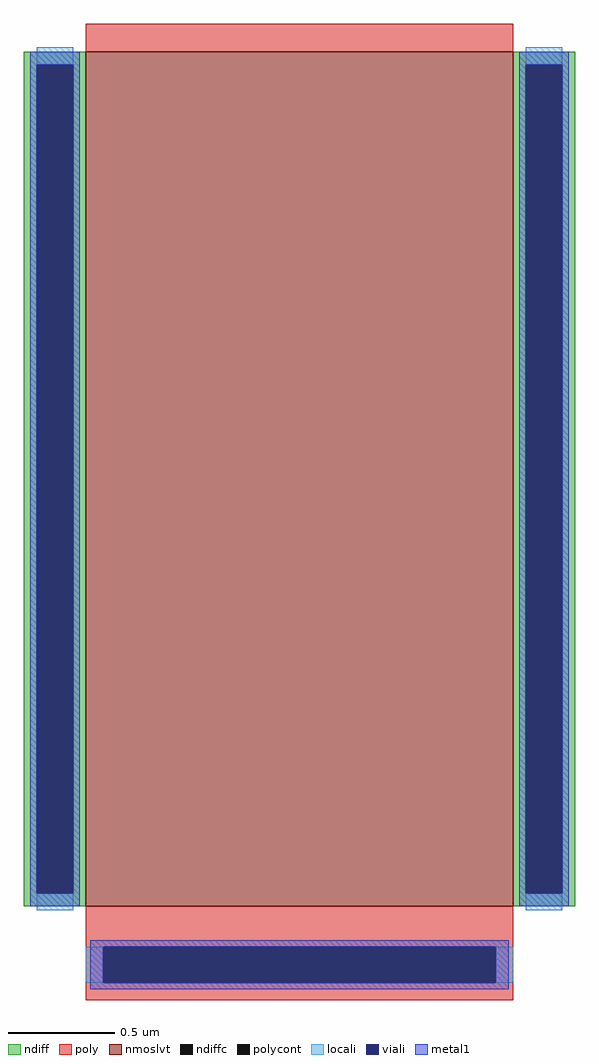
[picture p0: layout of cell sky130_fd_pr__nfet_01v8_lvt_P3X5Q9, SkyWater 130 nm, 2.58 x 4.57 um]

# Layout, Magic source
magic
tech sky130A
magscale 1 2
<< nmoslvt >>
rect -200 -369 200 431
<< ndiff >>
rect -258 419 -200 431
rect -258 -357 -246 419
rect -212 -357 -200 419
rect -258 -369 -200 -357
rect 200 419 258 431
rect 200 -357 212 419
rect 246 -357 258 419
rect 200 -369 258 -357
<< ndiffc >>
rect -246 -357 -212 419
rect 212 -357 246 419
<< poly >>
rect -200 431 200 457
rect -200 -407 200 -369
rect -200 -441 -184 -407
rect 184 -441 200 -407
rect -200 -457 200 -441
<< polycont >>
rect -184 -441 184 -407
<< locali >>
rect -246 419 -212 435
rect -246 -373 -212 -357
rect 212 419 246 435
rect 212 -373 246 -357
rect -200 -441 -184 -407
rect 184 -441 200 -407
<< viali >>
rect -246 -357 -212 419
rect 212 -357 246 419
rect -184 -441 184 -407
<< metal1 >>
rect -252 419 -206 431
rect -252 -357 -246 419
rect -212 -357 -206 419
rect -252 -369 -206 -357
rect 206 419 252 431
rect 206 -357 212 419
rect 246 -357 252 419
rect 206 -369 252 -357
rect -196 -407 196 -401
rect -196 -441 -184 -407
rect 184 -441 196 -407
rect -196 -447 196 -441
<< properties >>
string gencell sky130_fd_pr__nfet_01v8_lvt
string library sky130
string parameters w 4.0 l 2.0 m 1 nf 1 diffcov 100 polycov 100 guard 0 glc 1 grc 1 gtc 1 gbc 1 tbcov 100 rlcov 100 topc 0 botc 1 poverlap 0 doverlap 1 lmin 0.15 wmin 0.42 compatible {sky130_fd_pr__nfet_01v8 sky130_fd_pr__nfet_01v8_lvt  sky130_fd_bs_flash__special_sonosfet_star  sky130_fd_pr__nfet_g5v0d10v5 sky130_fd_pr__nfet_05v0_nvt  sky130_fd_pr__nfet_03v3_nvt} full_metal 0 viasrc 100 viadrn 100 viagate 100 viagb 0 viagr 0 viagl 0 viagt 0
<< end >>
